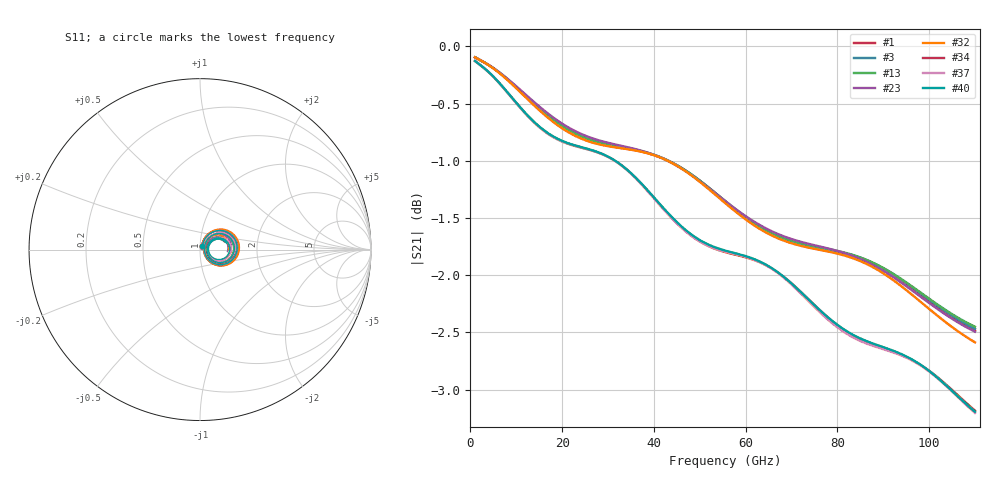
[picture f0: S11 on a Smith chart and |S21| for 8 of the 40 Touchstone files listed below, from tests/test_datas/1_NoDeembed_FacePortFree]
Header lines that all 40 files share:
! Touchstone file exported from HFSS 2024.2.0
!  File:  C:/Users/vaintrug/Documents/Ansoft_Workspace/Comparaison_Calculs_HFSS/1_VarPort.aedt
!  Design:  1_NoDeembed_FacePortFree
!  Project:  1_VarPort
!  Setup:  Setup1
!  Solution:  Sweep
! Variables:
# GHz S MA R 50.000000
! Terminal data exported
! Port[1] = 1
! Port[2] = 2
Fixed: Gap = 30um, Th = 2um, X_centralStrip = 20um, X_masse = 200um, Z_Box = 400um, Z_Sub = 200um
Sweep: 1 GHz to 110 GHz
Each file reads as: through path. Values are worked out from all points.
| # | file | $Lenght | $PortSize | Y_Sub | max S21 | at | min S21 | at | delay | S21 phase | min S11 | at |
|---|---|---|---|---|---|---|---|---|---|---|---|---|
| 1 | 1_Sij_NoDeembed_FacePortFree_L1500um_P90um.s2p | 1500um | 90um | 1.5mm | -0.10 dB | 1 GHz | -2.5 dB | 110 GHz | 11.6 ps | 125 deg at 56 GHz | -33.6 dB | 1 GHz |
| 2 | 1_Sij_NoDeembed_FacePortFree_L1500um_P100um.s2p | 1500um | 100um | 1.5mm | -0.10 dB | 1 GHz | -2.5 dB | 110 GHz | 11.6 ps | 125 deg at 56 GHz | -33.7 dB | 1 GHz |
| 3 | 1_Sij_NoDeembed_FacePortFree_L1500um_P110um.s2p | 1500um | 110um | 1.5mm | -0.10 dB | 1 GHz | -2.5 dB | 110 GHz | 11.6 ps | 125 deg at 56 GHz | -33.8 dB | 1 GHz |
| 4 | 1_Sij_NoDeembed_FacePortFree_L1500um_P120um.s2p | 1500um | 120um | 1.5mm | -0.10 dB | 1 GHz | -2.5 dB | 110 GHz | 11.6 ps | 125 deg at 56 GHz | -33.8 dB | 1 GHz |
| 5 | 1_Sij_NoDeembed_FacePortFree_L1500um_P130um.s2p | 1500um | 130um | 1.5mm | -0.10 dB | 1 GHz | -2.5 dB | 110 GHz | 11.6 ps | 125 deg at 56 GHz | -33.6 dB | 1 GHz |
| 6 | 1_Sij_NoDeembed_FacePortFree_L1500um_P140um.s2p | 1500um | 140um | 1.5mm | -0.10 dB | 1 GHz | -2.5 dB | 110 GHz | 11.6 ps | 125 deg at 56 GHz | -33.5 dB | 1 GHz |
| 7 | 1_Sij_NoDeembed_FacePortFree_L1500um_P150um.s2p | 1500um | 150um | 1.5mm | -0.10 dB | 1 GHz | -2.5 dB | 110 GHz | 11.6 ps | 125 deg at 56 GHz | -33.8 dB | 1 GHz |
| 8 | 1_Sij_NoDeembed_FacePortFree_L1500um_P160um.s2p | 1500um | 160um | 1.5mm | -0.10 dB | 1 GHz | -2.5 dB | 110 GHz | 11.6 ps | 125 deg at 56 GHz | -33.9 dB | 43 GHz |
| 9 | 1_Sij_NoDeembed_FacePortFree_L1500um_P170um.s2p | 1500um | 170um | 1.5mm | -0.10 dB | 1 GHz | -2.5 dB | 110 GHz | 11.6 ps | 125 deg at 56 GHz | -33.6 dB | 1 GHz |
| 10 | 1_Sij_NoDeembed_FacePortFree_L1500um_P180um.s2p | 1500um | 180um | 1.5mm | -0.10 dB | 1 GHz | -2.5 dB | 110 GHz | 11.6 ps | 125 deg at 56 GHz | -33.6 dB | 1 GHz |
| 11 | 1_Sij_NoDeembed_FacePortFree_L1500um_P190um.s2p | 1500um | 190um | 1.5mm | -0.10 dB | 1 GHz | -2.5 dB | 110 GHz | 11.6 ps | 125 deg at 56 GHz | -33.5 dB | 1 GHz |
| 12 | 1_Sij_NoDeembed_FacePortFree_L1500um_P200um.s2p | 1500um | 200um | 1.5mm | -0.10 dB | 1 GHz | -2.5 dB | 110 GHz | 11.6 ps | 125 deg at 56 GHz | -33.5 dB | 1 GHz |
| 13 | 1_Sij_NoDeembed_FacePortFree_L1500um_P210um.s2p | 1500um | 210um | 1.5mm | -0.10 dB | 1 GHz | -2.5 dB | 110 GHz | 11.6 ps | 125 deg at 56 GHz | -33.7 dB | 43 GHz |
| 14 | 1_Sij_NoDeembed_FacePortFree_L1500um_P220um.s2p | 1500um | 220um | 1.5mm | -0.10 dB | 1 GHz | -2.5 dB | 110 GHz | 11.6 ps | 125 deg at 56 GHz | -33.5 dB | 1 GHz |
| 15 | 1_Sij_NoDeembed_FacePortFree_L1500um_P230um.s2p | 1500um | 230um | 1.5mm | -0.10 dB | 1 GHz | -2.5 dB | 110 GHz | 11.6 ps | 125 deg at 56 GHz | -33.5 dB | 1 GHz |
| 16 | 1_Sij_NoDeembed_FacePortFree_L1500um_P240um.s2p | 1500um | 240um | 1.5mm | -0.10 dB | 1 GHz | -2.5 dB | 110 GHz | 11.6 ps | 125 deg at 56 GHz | -33.5 dB | 1 GHz |
| 17 | 1_Sij_NoDeembed_FacePortFree_L1500um_P250um.s2p | 1500um | 250um | 1.5mm | -0.10 dB | 1 GHz | -2.5 dB | 110 GHz | 11.6 ps | 125 deg at 56 GHz | -33.8 dB | 1 GHz |
| 18 | 1_Sij_NoDeembed_FacePortFree_L1500um_P260um.s2p | 1500um | 260um | 1.5mm | -0.10 dB | 1 GHz | -2.5 dB | 110 GHz | 11.6 ps | 125 deg at 56 GHz | -33.8 dB | 1 GHz |
| 19 | 1_Sij_NoDeembed_FacePortFree_L1500um_P270um.s2p | 1500um | 270um | 1.5mm | -0.10 dB | 1 GHz | -2.5 dB | 110 GHz | 11.6 ps | 125 deg at 56 GHz | -33.5 dB | 1 GHz |
| 20 | 1_Sij_NoDeembed_FacePortFree_L1500um_P280um.s2p | 1500um | 280um | 1.5mm | -0.10 dB | 1 GHz | -2.5 dB | 110 GHz | 11.6 ps | 125 deg at 56 GHz | -34.3 dB | 43 GHz |
| 21 | 1_Sij_NoDeembed_FacePortFree_L1500um_P290um.s2p | 1500um | 290um | 1.5mm | -0.10 dB | 1 GHz | -2.5 dB | 110 GHz | 11.6 ps | 125 deg at 56 GHz | -33.8 dB | 1 GHz |
| 22 | 1_Sij_NoDeembed_FacePortFree_L1500um_P300um.s2p | 1500um | 300um | 1.5mm | -0.10 dB | 1 GHz | -2.5 dB | 110 GHz | 11.6 ps | 125 deg at 56 GHz | -33.5 dB | 1 GHz |
| 23 | 1_Sij_NoDeembed_FacePortFree_L1500um_P310um.s2p | 1500um | 310um | 1.5mm | -0.10 dB | 1 GHz | -2.5 dB | 110 GHz | 11.6 ps | 125 deg at 56 GHz | -34.0 dB | 1 GHz |
| 24 | 1_Sij_NoDeembed_FacePortFree_L1500um_P320um.s2p | 1500um | 320um | 1.5mm | -0.10 dB | 1 GHz | -2.5 dB | 110 GHz | 11.6 ps | 125 deg at 56 GHz | -33.4 dB | 1 GHz |
| 25 | 1_Sij_NoDeembed_FacePortFree_L1500um_P330um.s2p | 1500um | 330um | 1.5mm | -0.10 dB | 1 GHz | -2.5 dB | 110 GHz | 11.6 ps | 125 deg at 56 GHz | -33.5 dB | 1 GHz |
| 26 | 1_Sij_NoDeembed_FacePortFree_L1500um_P340um.s2p | 1500um | 340um | 1.5mm | -0.10 dB | 1 GHz | -2.5 dB | 110 GHz | 11.6 ps | 125 deg at 56 GHz | -33.5 dB | 1 GHz |
| 27 | 1_Sij_NoDeembed_FacePortFree_L1500um_P350um.s2p | 1500um | 350um | 1.5mm | -0.10 dB | 1 GHz | -2.5 dB | 110 GHz | 11.6 ps | 125 deg at 56 GHz | -33.5 dB | 1 GHz |
| 28 | 1_Sij_NoDeembed_FacePortFree_L1500um_P360um.s2p | 1500um | 360um | 1.5mm | -0.10 dB | 1 GHz | -2.5 dB | 110 GHz | 11.6 ps | 125 deg at 56 GHz | -33.7 dB | 1 GHz |
| 29 | 1_Sij_NoDeembed_FacePortFree_L1500um_P370um.s2p | 1500um | 370um | 1.5mm | -0.10 dB | 1 GHz | -2.5 dB | 110 GHz | 11.6 ps | 125 deg at 56 GHz | -33.8 dB | 1 GHz |
| 30 | 1_Sij_NoDeembed_FacePortFree_L1500um_P380um.s2p | 1500um | 380um | 1.5mm | -0.10 dB | 1 GHz | -2.5 dB | 110 GHz | 11.6 ps | 125 deg at 56 GHz | -33.6 dB | 1 GHz |
| 31 | 1_Sij_NoDeembed_FacePortFree_L1500um_P390um.s2p | 1500um | 390um | 1.5mm | -0.10 dB | 1 GHz | -2.6 dB | 110 GHz | 11.6 ps | 125 deg at 56 GHz | -33.2 dB | 1 GHz |
| 32 | 1_Sij_NoDeembed_FacePortFree_L1500um_P400um.s2p | 1500um | 400um | 1.5mm | -0.10 dB | 1 GHz | -2.6 dB | 110 GHz | 11.6 ps | 125 deg at 56 GHz | -33.3 dB | 1 GHz |
| 33 | 1_Sij_NoDeembed_FacePortFree_L2000um_P90um.s2p | 2000um | 90um | 2mm | -0.13 dB | 1 GHz | -3.2 dB | 110 GHz | 15.5 ps | 48 deg at 56 GHz | -31.9 dB | 32 GHz |
| 34 | 1_Sij_NoDeembed_FacePortFree_L2000um_P100um.s2p | 2000um | 100um | 2mm | -0.13 dB | 1 GHz | -3.2 dB | 110 GHz | 15.5 ps | 48 deg at 56 GHz | -32.5 dB | 32 GHz |
| 35 | 1_Sij_NoDeembed_FacePortFree_L2000um_P110um.s2p | 2000um | 110um | 2mm | -0.13 dB | 1 GHz | -3.2 dB | 110 GHz | 15.5 ps | 48 deg at 56 GHz | -32.1 dB | 32 GHz |
| 36 | 1_Sij_NoDeembed_FacePortFree_L2000um_P120um.s2p | 2000um | 120um | 2mm | -0.13 dB | 1 GHz | -3.2 dB | 110 GHz | 15.5 ps | 48 deg at 56 GHz | -31.3 dB | 1 GHz |
| 37 | 1_Sij_NoDeembed_FacePortFree_L2000um_P130um.s2p | 2000um | 130um | 2mm | -0.13 dB | 1 GHz | -3.2 dB | 110 GHz | 15.5 ps | 48 deg at 56 GHz | -32.3 dB | 32 GHz |
| 38 | 1_Sij_NoDeembed_FacePortFree_L2000um_P140um.s2p | 2000um | 140um | 2mm | -0.13 dB | 1 GHz | -3.2 dB | 110 GHz | 15.5 ps | 48 deg at 56 GHz | -31.4 dB | 32 GHz |
| 39 | 1_Sij_NoDeembed_FacePortFree_L2000um_P150um.s2p | 2000um | 150um | 2mm | -0.13 dB | 1 GHz | -3.2 dB | 110 GHz | 15.5 ps | 48 deg at 56 GHz | -32.4 dB | 32 GHz |
| 40 | 1_Sij_NoDeembed_FacePortFree_L2000um_P160um.s2p | 2000um | 160um | 2mm | -0.13 dB | 1 GHz | -3.2 dB | 110 GHz | 15.5 ps | 48 deg at 56 GHz | -31.8 dB | 32 GHz |
